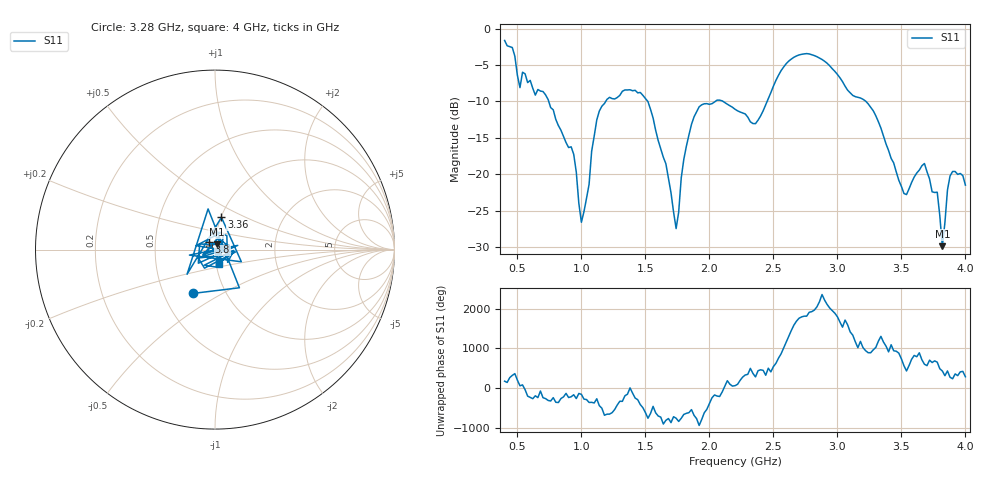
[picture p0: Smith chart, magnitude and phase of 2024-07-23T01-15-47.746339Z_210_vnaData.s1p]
!Created with skrf (http://scikit-rf.org).
# Hz S RI R 50.0
!freq ReS11 ImS11
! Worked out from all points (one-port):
!   181 points, 400 MHz to 4 GHz, reference 50 ohm
!   lowest |S11| = -29.8 dB at 3.82 GHz (marker M1), VSWR 1.07, Z = 51 + j3.11 ohm
!   |S11| at or under -10 dB: 744.7 MHz to 1.19 GHz (445 MHz wide, 46 % of centre); 1.519 GHz to 2.046 GHz (526.5 MHz wide, 29.5 % of centre); 3.223 GHz to end of sweep (the widest 3 of 4)
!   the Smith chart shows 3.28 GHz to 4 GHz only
!   S11 on the Smith chart (normalised r, x): 3.28 GHz: 0.70, -0.37; 3.36 GHz: 1.00, +0.37; 3.8 GHz: 0.93, +0.08; 4 GHz: 1.04, -0.17
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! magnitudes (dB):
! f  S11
! 400 MHz  -1.6
! 460 MHz  -2.6
! 520 MHz  -8.1
! 540 MHz  -6.0
! 700 MHz  -8.6
! 860 MHz  -14.8
! 940 MHz  -17.2
! 1 GHz  -26.6
! 1.14 GHz  -11.3
! 1.3 GHz  -9.2
! 1.52 GHz  -10.0
! 1.66 GHz  -18.5
! 1.74 GHz  -27.4
! 1.76 GHz  -25.2
! 1.8 GHz  -17.9
! 1.92 GHz  -10.7
! 2.2 GHz  -11.1
! 2.36 GHz  -13.0
! 2.66 GHz  -3.9
! 3.1 GHz  -8.8
! 3.28 GHz  -11.3
! 3.36 GHz  -14.7
! 3.56 GHz  -22.0
! 3.68 GHz  -18.5
! 3.8 GHz  -25.6
! 3.82 GHz  -29.8
! 3.88 GHz  -20.2
! 4 GHz  -21.5
